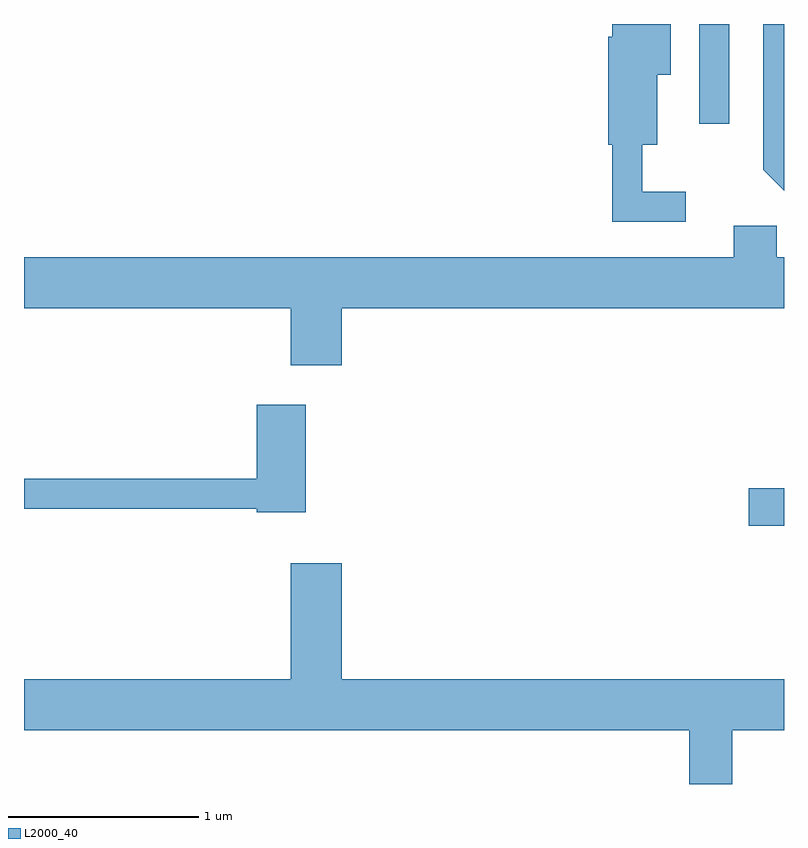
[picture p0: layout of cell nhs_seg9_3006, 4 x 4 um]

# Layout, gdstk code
import gdstk
lib = gdstk.Library(unit=1e-6, precision=1e-09)
def R(c, l, rs):  # rectangles x0, y0, x1, y1
    for r in rs: c.add(gdstk.rectangle(r[:2], r[2:], *l))
def P(c, l, *ps):  # polygons
    for p in ps: c.add(gdstk.Polygon(p, *l))
L2000_40 = (2000, 40)

nhs_seg9_3006 = lib.new_cell('nhs_seg9_3006')
R(nhs_seg9_3006, L2000_40, [(277.426,1981.791,277.611,1981.989), (277.166,1983.908,277.324,1984.432)])
P(nhs_seg9_3006, L2000_40, [(277.611,1984.432),(277.501,1984.432),(277.501,1983.664),(277.611,1983.554)],
  [(277.093,1983.549),(276.864,1983.549),(276.864,1983.796),(276.944,1983.796),(276.944,1984.166),(277.014,1984.166),(277.014,1984.432),(276.706,1984.432),(276.706,1984.364),(276.686,1984.364),(276.686,1983.796),(276.706,1983.796),(276.706,1983.391),(277.093,1983.391)],
  [(273.611,1982.936),(275.016,1982.936),(275.016,1982.636),(275.284,1982.636),(275.284,1982.936),(277.611,1982.936),(277.611,1983.204),(277.574,1983.204),(277.574,1983.369),(277.346,1983.369),(277.346,1983.204),(273.611,1983.204)],
  [(275.094,1982.429),(274.836,1982.429),(274.836,1982.039),(273.611,1982.039),(273.611,1981.881),(274.836,1981.881),(274.836,1981.861),(275.094,1981.861)],
  [(277.339,1980.716),(277.611,1980.716),(277.611,1980.984),(275.284,1980.984),(275.284,1981.594),(275.016,1981.594),(275.016,1980.984),(273.611,1980.984),(273.611,1980.716),(277.111,1980.716),(277.111,1980.432),(277.339,1980.432)])

lib.write_gds('nhs_seg9_3006.gds')
